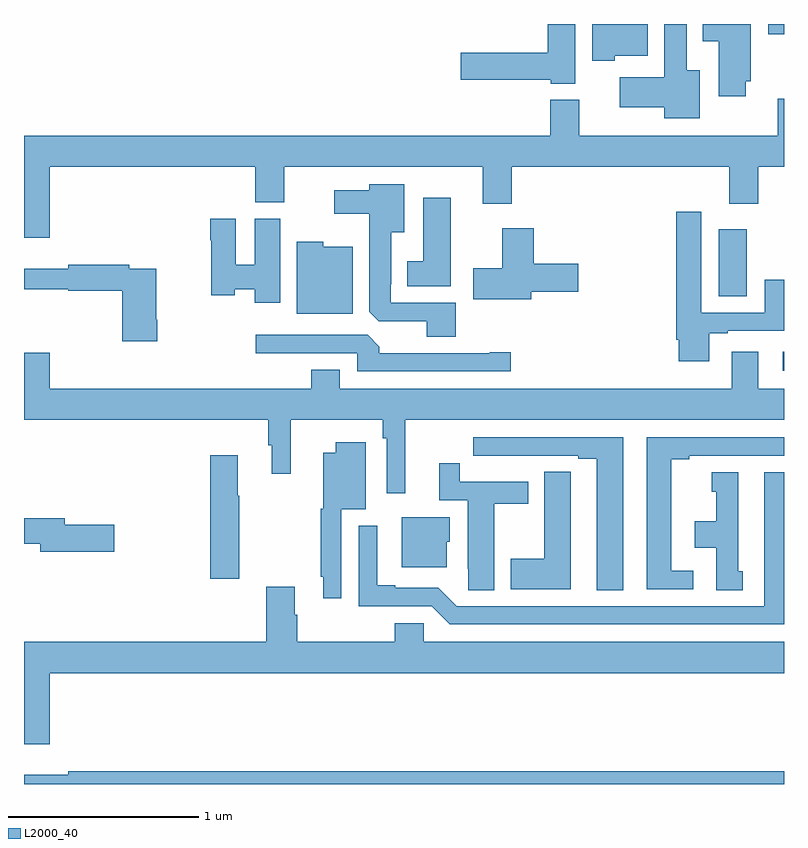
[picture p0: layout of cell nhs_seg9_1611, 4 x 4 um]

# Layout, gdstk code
import gdstk
lib = gdstk.Library(unit=1e-6, precision=1e-09)
def R(c, l, rs):  # rectangles x0, y0, x1, y1
    for r in rs: c.add(gdstk.rectangle(r[:2], r[2:], *l))
def P(c, l, *ps):  # polygons
    for p in ps: c.add(gdstk.Polygon(p, *l))
L2000_40 = (2000, 40)

nhs_seg9_1611 = lib.new_cell('nhs_seg9_1611')
R(nhs_seg9_1611, L2000_40, [(204.993,1200.674,205,1200.775), (204.656,1201.066,204.805,1201.42), (204.918,1202.446,205,1202.5)])
P(nhs_seg9_1611, L2000_40, [(204.108,1202.333),(204.283,1202.333),(204.283,1202.5),(203.99,1202.5),(203.99,1202.306),(204.108,1202.306)],
  [(203.902,1202.5),(203.756,1202.5),(203.756,1202.348),(203.298,1202.348),(203.298,1202.206),(203.772,1202.206),(203.772,1202.186),(203.902,1202.186)],
  [(204.556,1202.257),(204.487,1202.257),(204.487,1202.5),(204.371,1202.5),(204.371,1202.221),(204.135,1202.221),(204.135,1202.063),(204.371,1202.063),(204.371,1202.003),(204.556,1202.003)],
  [(204.799,1202.199),(204.826,1202.199),(204.826,1202.5),(204.572,1202.5),(204.572,1202.408),(204.656,1202.408),(204.656,1202.121),(204.799,1202.121)],
  [(203.923,1202.101),(203.771,1202.101),(203.771,1201.912),(201,1201.912),(201,1201.374),(201.136,1201.374),(201.136,1201.748),(202.217,1201.748),(202.217,1201.561),(202.369,1201.561),(202.369,1201.748),(203.414,1201.748),(203.414,1201.554),(203.567,1201.554),(203.567,1201.748),(204.713,1201.748),(204.713,1201.554),(204.865,1201.554),(204.865,1201.748),(205,1201.748),(205,1202.107),(204.968,1202.107),(204.968,1201.912),(203.923,1201.912)],
  [(203.273,1201.032),(202.929,1201.032),(202.929,1201.129),(202.933,1201.129),(202.933,1201.403),(203.002,1201.403),(203.002,1201.657),(202.817,1201.657),(202.817,1201.624),(202.632,1201.624),(202.632,1201.502),(202.817,1201.502),(202.817,1200.985),(202.866,1200.936),(203.12,1200.936),(203.12,1200.853),(203.273,1200.853)],
  [(203.245,1201.585),(203.102,1201.585),(203.102,1201.252),(203.018,1201.252),(203.018,1201.121),(203.245,1201.121)],
  [(204.607,1200.873),(204.703,1200.873),(204.703,1200.885),(205,1200.885),(205,1201.153),(204.899,1201.153),(204.899,1200.981),(204.565,1200.981),(204.565,1201.513),(204.434,1201.513),(204.434,1200.838),(204.446,1200.838),(204.446,1200.726),(204.607,1200.726)],
  [(202.348,1201.476),(202.214,1201.476),(202.214,1201.233),(202.114,1201.233),(202.114,1201.474),(201.98,1201.474),(201.98,1201.361),(201.985,1201.361),(201.985,1201.073),(202.11,1201.073),(202.11,1201.103),(202.214,1201.103),(202.214,1201.032),(202.348,1201.032)],
  [(203.671,1201.091),(203.917,1201.091),(203.917,1201.238),(203.684,1201.238),(203.684,1201.426),(203.516,1201.426),(203.516,1201.215),(203.364,1201.215),(203.364,1201.052),(203.671,1201.052)],
  [(202.729,1201.327),(202.575,1201.327),(202.575,1201.354),(202.436,1201.354),(202.436,1200.974),(202.729,1200.974)],
  [(201.701,1200.943),(201.696,1200.943),(201.696,1201.212),(201.554,1201.212),(201.554,1201.232),(201.232,1201.232),(201.232,1201.213),(201,1201.213),(201,1201.104),(201.234,1201.104),(201.234,1201.096),(201.518,1201.096),(201.518,1200.831),(201.701,1200.831)],
  [(203.563,1200.773),(203.45,1200.773),(203.45,1200.768),(202.871,1200.768),(202.871,1200.802),(202.809,1200.864),(202.221,1200.864),(202.221,1200.768),(202.755,1200.768),(202.755,1200.672),(203.563,1200.672)],
  [(203.006,1200.416),(205,1200.416),(205,1200.58),(204.865,1200.58),(204.865,1200.775),(204.725,1200.775),(204.725,1200.58),(202.663,1200.58),(202.663,1200.679),(202.511,1200.679),(202.511,1200.58),(201.136,1200.58),(201.136,1200.769),(201,1200.769),(201,1200.416),(202.285,1200.416),(202.285,1200.282),(202.304,1200.282),(202.304,1200.132),(202.404,1200.132),(202.404,1200.416),(202.888,1200.416),(202.888,1200.32),(202.908,1200.32),(202.908,1200.03),(203.006,1200.03)],
  [(204.523,1199.622),(204.406,1199.622),(204.406,1200.208),(204.502,1200.208),(204.502,1200.228),(205,1200.228),(205,1200.324),(204.278,1200.324),(204.278,1199.526),(204.523,1199.526)],
  [(204.154,1200.324),(203.364,1200.324),(203.364,1200.228),(203.476,1200.228),(203.476,1200.227),(203.642,1200.227),(203.642,1200.228),(203.918,1200.228),(203.918,1200.213),(204.014,1200.213),(204.014,1199.521),(204.154,1199.521)],
  [(202.671,1199.945),(202.798,1199.945),(202.798,1200.298),(202.64,1200.298),(202.64,1200.244),(202.574,1200.244),(202.574,1199.949),(202.563,1199.949),(202.563,1199.59),(202.574,1199.59),(202.574,1199.478),(202.671,1199.478)],
  [(202.134,1200.016),(202.126,1200.016),(202.126,1200.229),(201.98,1200.229),(201.98,1199.58),(202.134,1199.58)],
  [(203.476,1199.974),(203.653,1199.974),(203.653,1200.09),(203.294,1200.09),(203.294,1200.187),(203.186,1200.187),(203.186,1199.994),(203.336,1199.994),(203.336,1199.632),(203.337,1199.632),(203.337,1199.521),(203.476,1199.521)],
  [(203.878,1200.035),(203.877,1200.035),(203.877,1200.143),(203.738,1200.143),(203.738,1199.685),(203.561,1199.685),(203.561,1199.525),(203.878,1199.525)],
  [(204.784,1199.619),(204.76,1199.619),(204.76,1200.142),(204.62,1200.142),(204.62,1200.039),(204.644,1200.039),(204.644,1199.884),(204.53,1199.884),(204.53,1199.744),(204.644,1199.744),(204.644,1199.521),(204.784,1199.521)],
  [(205,1200.142),(204.896,1200.142),(204.896,1199.436),(203.277,1199.436),(203.181,1199.532),(202.954,1199.532),(202.954,1199.545),(202.858,1199.545),(202.858,1199.86),(202.761,1199.86),(202.761,1199.436),(203.145,1199.436),(203.241,1199.34),(205,1199.34)],
  [(203.224,1199.775),(203.242,1199.775),(203.242,1199.905),(202.988,1199.905),(202.988,1199.642),(203.224,1199.642)],
  [(201.475,1199.864),(201.214,1199.864),(201.214,1199.9),(201,1199.9),(201,1199.764),(201.086,1199.764),(201.086,1199.722),(201.475,1199.722)],
  [(201.136,1199.084),(205,1199.084),(205,1199.248),(203.103,1199.248),(203.103,1199.346),(202.952,1199.346),(202.952,1199.248),(202.439,1199.248),(202.439,1199.39),(202.426,1199.39),(202.426,1199.539),(202.274,1199.539),(202.274,1199.248),(201,1199.248),(201,1198.71),(201.136,1198.71)],
  [(205,1198.568),(201.232,1198.568),(201.232,1198.549),(201,1198.549),(201,1198.5),(205,1198.5)])

lib.write_gds('nhs_seg9_1611.gds')
